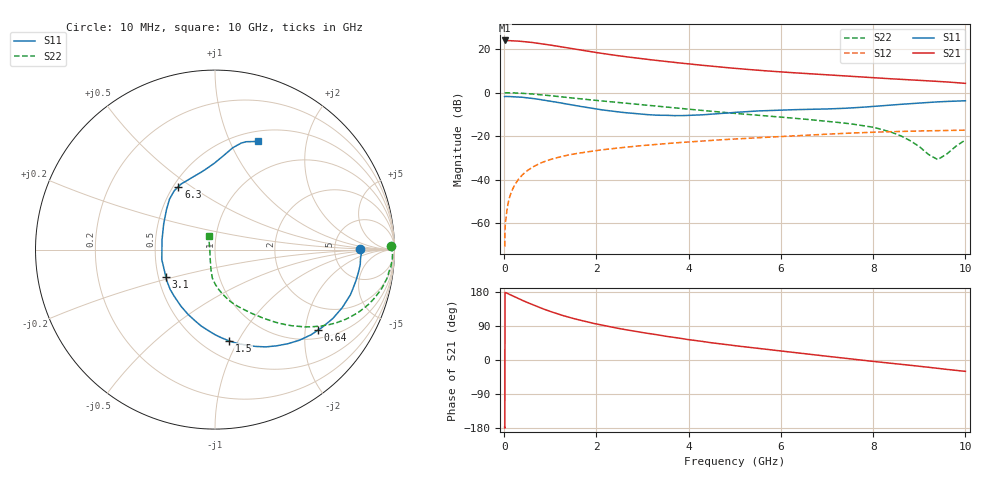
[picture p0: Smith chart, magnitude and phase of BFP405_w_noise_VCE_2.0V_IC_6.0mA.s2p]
! Infineon Technologies  Discrete & RF Semiconductors
! BFP405
! VCE =  2.0 V,  IC =  6.0 mA
! Common Emitter S-Parameters:  Jan 2016
# GHz  S  MA  R  50
!  f  S11  S21  S12  S22
! GHz  MAG  ANG  MAG  ANG  MAG  ANG  MAG  ANG
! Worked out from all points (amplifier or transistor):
!   233 points, 10 MHz to 10 GHz, reference 50 ohm
!   highest |S21| = 23.9 dB at 10 MHz (marker M1)
!   |S21| within 3 dB of that: start of sweep to 1.259 GHz
!   unconditionally stable (mu >= 1): start of sweep to 15.77 MHz; 3.15 GHz to end of sweep
!   at 200 MHz: K = 0.09, MSG = 33.7 dB, |S12| = -43.6 dB
!   at 1.74 GHz: K = 0.61, MSG = 23.3 dB, |S12| = -27.4 dB
!   at 10 GHz: K = 1.44, MAG = 6.8 dB, |S12| = -17.2 dB
!   lowest NFmin = 1.32 dB at 900 MHz
!   S11 on the Smith chart (normalised r, x): 10 MHz: 9.42, +0.23; 640 MHz: 1.22, -2.34; 1.5 GHz: 0.66, -0.92; 3.1 GHz: 0.55, -0.18; 6.3 GHz: 0.53, +0.45; 10 GHz: 0.62, +1.28
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0.01  0.8081 0.3  15.68 -177.6  0.0003 -49.5  0.9833 1.2
0.015  0.8126 -0.3  15.63 -179.7  0.0003 75.9  0.9844 0.5
0.02  0.8171 -0.9  15.6 178.2  0.0008 93.7  0.9856 -0.1
0.105  0.8129 -6.3  15.53 173.6  0.0036 86.7  0.9892 -2.9
0.26  0.7986 -15.9  15.32 165.0  0.0086 82.6  0.9757 -7.7
0.44  0.7712 -26.7  14.74 155.0  0.0143 77.5  0.9563 -12.6
0.64  0.7279 -38.1  13.95 144.8  0.0201 72.1  0.922 -17.8
0.8  0.6896 -47.1  13.27 137.0  0.0244 68.6  0.8909 -21.6
1  0.6369 -57.3  12.31 128.1  0.0291 64.4  0.8491 -25.8
1.2  0.5853 -67.2  11.38 120.2  0.0333 60.9  0.8069 -29.6
1.5  0.5142 -81.3  10.07 109.5  0.0388 56.6  0.747 -34.3
1.68  0.4766 -89.3  9.377 103.9  0.0419 54.4  0.714 -36.8
2.3  0.3787 -116.6  7.436 87.6  0.0511 48.6  0.6161 -43.7
3.1  0.3126 -151.3  5.786 70.7  0.0622 42.6  0.5136 -51.1
3.4  0.3014 -164.5  5.321 64.9  0.0662 40.5  0.4787 -53.8
4  0.2999 170.3  4.545 53.7  0.0739 36.3  0.4155 -59.5
5.1  0.3559 138.5  3.525 36.4  0.0873 28.7  0.3273 -69.9
6.3  0.4054 120.2  2.84 19.8  0.1019 20.9  0.2572 -79.4
6.8  0.4159 111.7  2.625 12.8  0.1084 17.3  0.2299 -83.5
8.4  0.5184 85.6  2.068 -8.8  0.1268 3.8  0.1226 -99.9
9.4  0.6118 76.1  1.808 -22.1  0.1341 -4.1  0.029 -178.6
10  0.649 68.2  1.627 -30.0  0.1374 -8.4  0.082 116.0
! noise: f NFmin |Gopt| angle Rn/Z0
0.9  1.32  0.32  10  0.32
1.8  1.58  0.25  16  0.31
2.4  1.71  0.21  23  0.31
3  1.74  0.18  41  0.28
4  1.9  0.07  58  0.25
5  2.27  0.03  180  0.23
